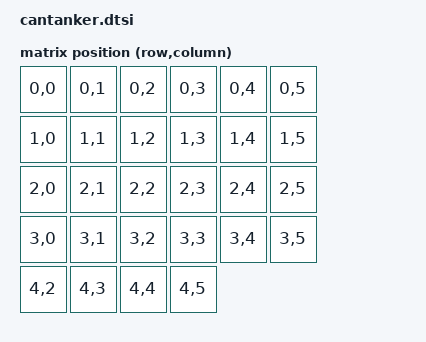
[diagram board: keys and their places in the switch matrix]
/*
 * Copyright (c) 2020 Pete Johanson, Ryan Cross
 *
 * SPDX-License-Identifier: MIT
 */

#include <dt-bindings/zmk/matrix_transform.h>

/ {
    chosen {
        zmk,kscan = &kscan0;
        zmk,matrix_transform = &default_transform;
    };

    default_transform: keymap_transform_0 {
        compatible = "zmk,matrix-transform";
        columns = <7>;
        rows = <5>;
        map = <
        RC(0,0) RC(0,1) RC(0,2) RC(0,3) RC(0,4) RC(0,5)
        RC(1,0) RC(1,1) RC(1,2) RC(1,3) RC(1,4) RC(1,5)
        RC(2,0) RC(2,1) RC(2,2) RC(2,3) RC(2,4) RC(2,5)
        RC(3,0) RC(3,1) RC(3,2) RC(3,3) RC(3,4) RC(3,5)
        RC(4,2) RC(4,3) RC(4,4) RC(4,5)
        >;
    };

    kscan0: kscan {
        compatible = "zmk,kscan-gpio-matrix";
        wakeup-source;
        diode-direction = "col2row";
    };

    left_encoder: encoder_left {
        compatible = "alps,ec11";
        steps = <80>;
        status = "disabled";
    };

    right_encoder: encoder_right {
        compatible = "alps,ec11";
        steps = <80>;
        status = "disabled";
    };

    sensors: sensors {
        compatible = "zmk,keymap-sensors";
        sensors = <&left_encoder &right_encoder>;
        triggers-per-rotation = <20>;
    };
};
